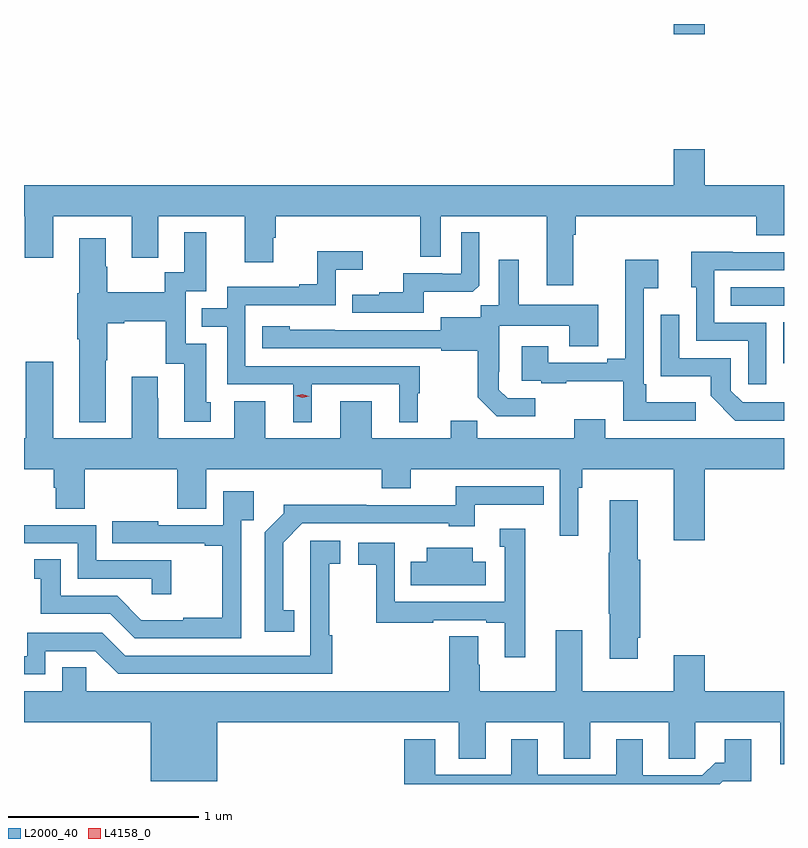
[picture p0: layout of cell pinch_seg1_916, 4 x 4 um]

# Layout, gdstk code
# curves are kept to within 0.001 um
import gdstk
lib = gdstk.Library(unit=1e-6, precision=1e-09)
def R(c, l, rs):  # rectangles x0, y0, x1, y1
    for r in rs: c.add(gdstk.rectangle(r[:2], r[2:], *l))
def P(c, l, *ps):  # polygons
    for p in ps: c.add(gdstk.Polygon(p, *l))
L2000_40 = (2000, 40)
L4158_0 = (4158, 0)

pinch_seg1_916 = lib.new_cell('pinch_seg1_916')
R(pinch_seg1_916, L2000_40, [(201.548,578.93,201.552,579.145), (201.271,579.234,201.552,579.33), (200.972,580.662,201.136,580.716)])
P(pinch_seg1_916, L2000_40, [(200.443,579.608),(200.456,579.608),(200.456,579.704),(201.407,579.704),(201.407,579.605),(201.552,579.605),(201.552,579.868),(201.136,579.868),(201.136,580.057),(200.972,580.057),(200.972,579.868),(197.552,579.868),(197.552,579.704),(197.555,579.704),(197.555,579.486),(197.707,579.486),(197.707,579.704),(198.119,579.704),(198.119,579.486),(198.259,579.486),(198.259,579.704),(198.713,579.704),(198.713,579.462),(198.865,579.462),(198.865,579.591),(198.878,579.591),(198.878,579.704),(199.638,579.704),(199.638,579.49),(199.746,579.49),(199.746,579.704),(200.303,579.704),(200.303,579.342),(200.443,579.342)],
  [(197.983,578.947),(197.991,578.947),(197.991,579.14),(198.079,579.14),(198.079,579.152),(198.299,579.152),(198.299,578.928),(198.395,578.928),(198.395,578.622),(198.535,578.622),(198.535,578.724),(198.511,578.724),(198.511,579.033),(198.402,579.033),(198.402,579.309),(198.511,579.309),(198.511,579.619),(198.395,579.619),(198.395,579.41),(198.294,579.41),(198.294,579.304),(197.991,579.304),(197.991,579.438),(197.983,579.438),(197.983,579.589),(197.843,579.589),(197.843,579.3),(197.831,579.3),(197.831,579.056),(197.843,579.056),(197.843,578.621),(197.983,578.621)],
  [(199.657,579.308),(199.915,579.308),(199.947,579.339),(199.947,579.619),(199.854,579.619),(199.854,579.402),(199.754,579.402),(199.754,579.405),(199.547,579.405),(199.547,579.304),(199.423,579.304),(199.423,579.292),(199.279,579.292),(199.279,579.195),(199.657,579.195)],
  [(199.066,578.82),(199.526,578.82),(199.526,578.621),(199.624,578.621),(199.624,578.772),(199.636,578.772),(199.636,578.916),(198.717,578.916),(198.717,579.237),(199.194,579.237),(199.194,579.422),(199.336,579.422),(199.336,579.521),(199.096,579.521),(199.096,579.346),(199.001,579.346),(199.001,579.333),(198.621,579.333),(198.621,579.219),(198.487,579.219),(198.487,579.123),(198.621,579.123),(198.621,578.82),(198.968,578.82),(198.968,578.621),(199.066,578.621)],
  [(201.459,579.144),(201.186,579.144),(201.186,579.42),(201.552,579.42),(201.552,579.516),(201.283,579.516),(201.283,579.518),(201.065,579.518),(201.065,579.33),(201.09,579.33),(201.09,579.048),(201.363,579.048),(201.363,578.82),(201.459,578.82)],
  [(201.088,578.725),(200.827,578.725),(200.827,578.821),(200.814,578.821),(200.814,579.326),(200.89,579.326),(200.89,579.475),(200.717,579.475),(200.717,578.953),(200.621,578.953),(200.621,578.934),(200.311,578.934),(200.311,579.019),(200.171,579.019),(200.171,578.838),(200.275,578.838),(200.275,578.826),(200.407,578.826),(200.407,578.837),(200.706,578.837),(200.706,578.628),(201.088,578.628)],
  [(200.242,578.745),(200.097,578.745),(200.05,578.792),(200.05,578.887),(200.052,578.887),(200.052,579.128),(200.423,579.128),(200.423,579.019),(200.575,579.019),(200.575,579.238),(200.155,579.238),(200.155,579.475),(200.051,579.475),(200.051,579.236),(199.956,579.236),(199.956,579.172),(199.745,579.172),(199.745,579.105),(198.951,579.106),(198.951,579.124),(198.807,579.124),(198.807,579.009),(199.749,579.009),(199.749,578.997),(199.941,578.997),(199.941,578.751),(200.041,578.651),(200.242,578.651)],
  [(201.552,578.724),(201.336,578.724),(201.273,578.787),(201.273,578.958),(201,578.958),(201,579.187),(200.904,579.187),(200.904,578.861),(201.166,578.861),(201.166,578.759),(201.296,578.628),(201.552,578.628)],
  [(200.47,578.276),(200.489,578.276),(200.489,578.372),(200.972,578.372),(200.972,577.998),(201.136,577.998),(201.136,578.372),(201.552,578.372),(201.552,578.536),(200.611,578.536),(200.611,578.635),(200.447,578.635),(200.447,578.536),(199.937,578.536),(199.937,578.627),(199.799,578.627),(199.799,578.536),(199.381,578.536),(199.381,578.731),(199.217,578.731),(199.217,578.536),(198.823,578.536),(198.823,578.731),(198.659,578.731),(198.659,578.536),(198.259,578.536),(198.259,578.747),(198.256,578.747),(198.256,578.86),(198.119,578.86),(198.119,578.536),(197.707,578.536),(197.707,578.938),(197.56,578.938),(197.56,578.536),(197.552,578.536),(197.552,578.372),(197.708,578.372),(197.708,578.274),(197.72,578.274),(197.72,578.164),(197.873,578.164),(197.873,578.372),(198.359,578.372),(198.359,578.164),(198.511,578.164),(198.511,578.372),(199.436,578.372),(199.436,578.273),(199.588,578.273),(199.588,578.372),(200.373,578.372),(200.373,578.022),(200.47,578.022)],
  [(198.974,577.631),(198.916,577.631),(198.916,577.987),(199.017,578.088),(199.788,578.088),(199.788,578.072),(199.924,578.072),(199.924,578.187),(200.288,578.187),(200.288,578.283),(199.825,578.283),(199.825,578.184),(199.352,578.184),(199.352,578.186),(198.918,578.186),(198.918,578.141),(198.819,578.042),(198.819,577.518),(198.974,577.518)],
  [(198.696,578.105),(198.761,578.105),(198.761,578.257),(198.6,578.257),(198.6,578.079),(198.259,578.079),(198.259,578.098),(198.016,578.098),(198.016,577.983),(198.503,577.983),(198.503,577.971),(198.595,577.971),(198.595,577.591),(198.389,577.591),(198.389,577.579),(198.17,577.579),(198.042,577.707),(197.746,577.707),(197.746,577.898),(197.606,577.898),(197.606,577.795),(197.639,577.795),(197.639,577.611),(198.006,577.611),(198.135,577.482),(198.696,577.482)],
  [(200.782,577.486),(200.795,577.486),(200.795,577.896),(200.782,577.896),(200.782,578.209),(200.636,578.209),(200.636,577.934),(200.629,577.934),(200.629,577.612),(200.636,577.612),(200.636,577.374),(200.782,577.374)],
  [(198.326,577.893),(197.931,577.893),(197.931,578.079),(197.552,578.079),(197.552,577.983),(197.835,577.983),(197.835,577.797),(198.225,577.797),(198.225,577.716),(198.326,577.716)],
  [(200.191,578.059),(200.057,578.059),(200.057,577.965),(200.082,577.965),(200.082,577.674),(199.503,577.674),(199.503,577.986),(199.311,577.986),(199.311,577.87),(199.405,577.87),(199.405,577.566),(199.706,577.566),(199.706,577.578),(199.985,577.578),(199.985,577.566),(200.081,577.566),(200.081,577.383),(200.191,577.383)],
  [(197.664,577.416),(197.928,577.416),(198.048,577.296),(199.175,577.296),(199.175,577.499),(199.158,577.499),(199.158,577.875),(199.216,577.875),(199.216,577.996),(199.058,577.996),(199.059,577.392),(198.084,577.392),(197.964,577.512),(197.568,577.512),(197.568,577.389),(197.552,577.389),(197.552,577.293),(197.664,577.293)],
  [(199.981,577.885),(199.915,577.885),(199.915,577.96),(199.673,577.96),(199.673,577.885),(199.588,577.885),(199.588,577.763),(199.981,577.763)],
  [(198.568,577.04),(199.841,577.04),(199.841,576.85),(199.981,576.85),(199.981,577.04),(200.393,577.04),(200.393,576.85),(200.533,576.85),(200.533,577.04),(200.945,577.04),(200.945,576.85),(201.084,576.85),(201.084,577.04),(201.533,577.04),(201.533,576.819),(201.552,576.819),(201.552,577.204),(201.136,577.204),(201.136,577.393),(200.972,577.393),(200.972,577.204),(200.491,577.204),(200.491,577.525),(200.351,577.525),(200.351,577.204),(199.95,577.204),(199.95,577.343),(199.942,577.343),(199.942,577.493),(199.79,577.493),(199.79,577.204),(197.88,577.204),(197.88,577.331),(197.753,577.331),(197.753,577.204),(197.552,577.204),(197.552,577.04),(198.218,577.04),(198.218,576.731),(198.568,576.731)],
  [(201.23,576.731),(201.379,576.731),(201.379,576.952),(201.239,576.952),(201.239,576.829),(201.19,576.829),(201.123,576.762),(200.809,576.762),(200.809,576.952),(200.669,576.952),(200.669,576.765),(200.257,576.765),(200.257,576.952),(200.117,576.952),(200.117,576.765),(199.717,576.765),(199.717,576.952),(199.553,576.952),(199.553,576.716),(201.215,576.716)])
P(pinch_seg1_916, L4158_0, [(199.017,578.748),(198.981,578.759),(198.981,578.759),(198.981,578.759),(199.017,578.768),(199.053,578.758),(199.053,578.757),(199.053,578.757)])

lib.write_gds('pinch_seg1_916.gds')
